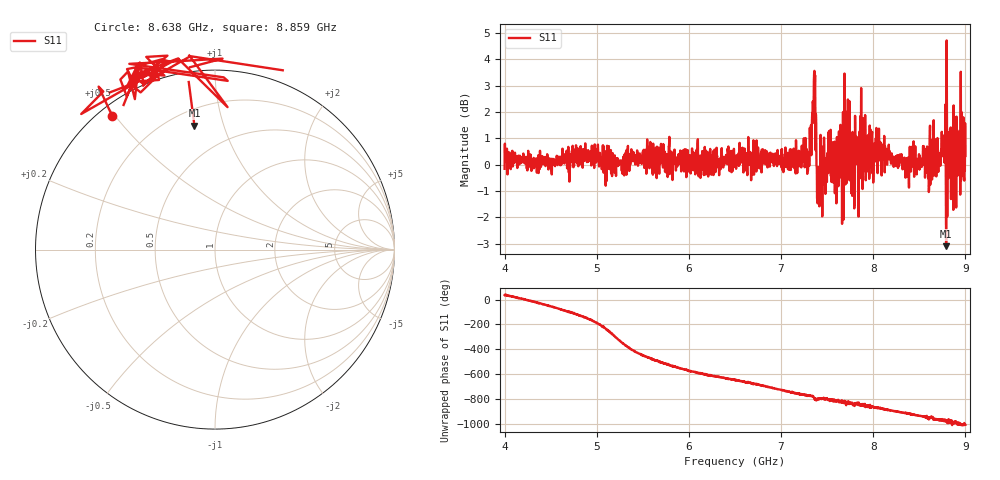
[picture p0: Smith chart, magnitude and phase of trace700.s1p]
! Created with skrf 1.8.0 (http://scikit-rf.org).
# Hz S RI R 50.0
!freq ReS11 ImS11
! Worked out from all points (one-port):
!   1601 points, 4 GHz to 9 GHz, reference 50 ohm
!   lowest |S11| = -3.1 dB at 8.791 GHz (marker M1), VSWR 5.66, Z = 14.8 + j40.2 ohm
!   |S11| at or under -10 dB: nowhere
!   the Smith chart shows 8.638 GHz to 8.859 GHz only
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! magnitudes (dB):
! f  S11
! 4 GHz  -0.2
! 4.625 GHz  0.2
! 4.9 GHz  0.5
! 5.25 GHz  0.1
! 5.566 GHz  0.1
! 5.625 GHz  0.2
! 5.709 GHz  0.1
! 5.753 GHz  -0.3
! 5.875 GHz  -0.1
! 6.5 GHz  0.3
! 7.125 GHz  0.2
! 7.294 GHz  0.0
! 7.356 GHz  3.2
! 7.4 GHz  -0.1
! 7.422 GHz  -0.2
! 7.512 GHz  -0.3
! 7.609 GHz  0.4
! 7.669 GHz  1.3
! 7.75 GHz  0.1
! 7.769 GHz  -0.2
! 7.878 GHz  0.5
! 7.909 GHz  0.3
! 8.05 GHz  0.6
! 8.375 GHz  -0.1
! 8.791 GHz  -3.1
! 8.919 GHz  0.3
! 8.956 GHz  0.1
! 9 GHz  0.3
